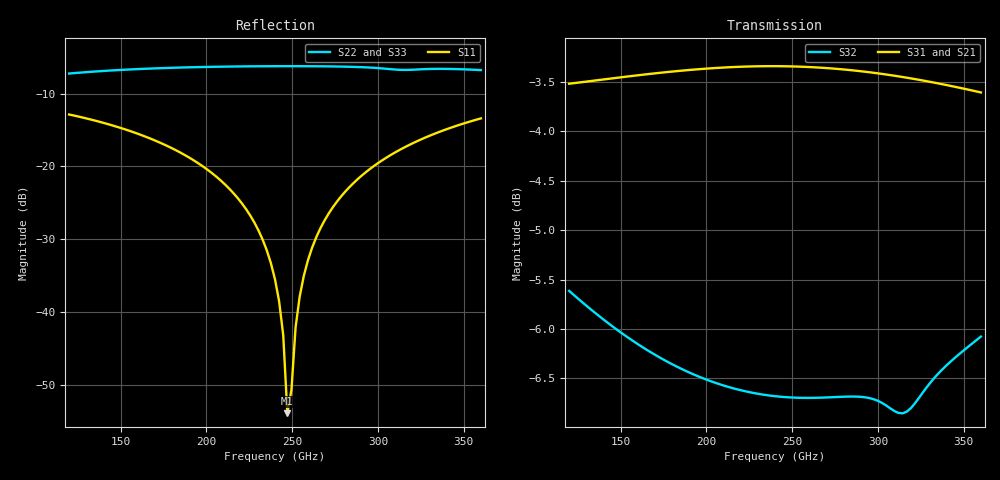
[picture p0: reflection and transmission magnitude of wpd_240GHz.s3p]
#  GHZ S DB R 50
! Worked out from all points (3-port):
!   101 points, 120 GHz to 360 GHz, reference 50 ohm
!   strongest paths, dB at 120 GHz, 180 GHz, 240 GHz, 300 GHz, 360 GHz:
!     S31: -3.5, -3.4, -3.3, -3.4, -3.6
!     S21: -3.5, -3.4, -3.3, -3.4, -3.6
!     S32: -5.6, -6.4, -6.7, -6.7, -6.1
!   lowest |S11| = -53.9 dB at 247.2 GHz (marker M1), VSWR 1.00, Z = 50 + j0.201 ohm
!   |S11| at or under -10 dB: start of sweep to end of sweep
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120  -12.87 134.9  -3.52 -43.6  -3.52 -43.6
     -3.52 -43.6  -7.24 53.0  -5.61 -96.0
     -3.52 -43.6  -5.61 -96.0  -7.25 52.9
204  -21.07 103.4  -3.37 -75.3  -3.36 -75.4
     -3.37 -75.3  -6.32 10.7  -6.54 -153.0
     -3.36 -75.4  -6.54 -153.0  -6.33 10.6
225.6  -26.77 95.2  -3.35 -83.7  -3.34 -83.8
       -3.35 -83.7  -6.25 1.8  -6.64 -167.3
       -3.34 -83.8  -6.64 -167.3  -6.26 1.6
240  -35.54 90.0  -3.35 -89.3  -3.34 -89.4
     -3.35 -89.3  -6.23 -4.0  -6.68 -176.8
     -3.34 -89.4  -6.68 -176.8  -6.24 -4.1
244.8  -43.20 88.9  -3.35 -91.2  -3.34 -91.3
       -3.35 -91.2  -6.23 -5.9  -6.69 -180.0
       -3.34 -91.3  -6.69 -180.0  -6.24 -6.0
247.2  -53.95 91.0  -3.35 -92.2  -3.34 -92.2
       -3.35 -92.2  -6.23 -6.9  -6.69 178.5
       -3.34 -92.2  -6.69 178.5  -6.24 -7.0
256.8  -35.05 -97.5  -3.35 -95.9  -3.35 -96.0
       -3.35 -95.9  -6.24 -10.7  -6.70 172.1
       -3.35 -96.0  -6.70 172.1  -6.25 -10.8
271.2  -26.52 -102.7  -3.37 -101.6  -3.36 -101.6
       -3.37 -101.6  -6.26 -16.5  -6.69 162.5
       -3.36 -101.6  -6.69 162.5  -6.27 -16.6
304.8  -18.82 -115.5  -3.43 -114.7  -3.42 -114.8
       -3.43 -114.7  -6.59 -30.2  -6.77 139.6
       -3.42 -114.8  -6.77 139.6  -6.60 -30.4
360  -13.41 -136.3  -3.61 -135.8  -3.61 -136.0
     -3.61 -135.8  -6.77 -53.6  -6.08 104.1
     -3.61 -136.0  -6.08 104.1  -6.79 -53.8
